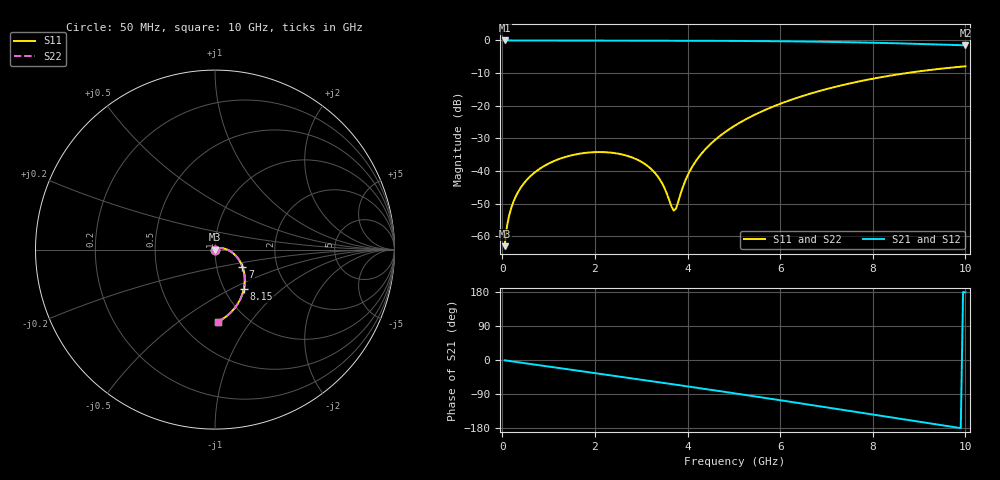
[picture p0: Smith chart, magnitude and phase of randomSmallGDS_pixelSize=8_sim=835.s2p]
! freq	dB(S11)	phase(S11)	dB(S12)	phase(S12)
!  dB(S21)	phase(S21)	dB(S22)	phase(S22)
!S-par simulation data
#  GHz  S  DB  R 50
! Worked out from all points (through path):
!   200 points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, 50 MHz to 10 GHz, reference 50 ohm
!   highest |S21| = 0.00 dB at 50 MHz (marker M1); lowest = -1.5 dB at 10 GHz (marker M2)
!   group delay of S21, straight-line fit = 50.6 ps
!   lowest |S11| = -63.0 dB at 50 MHz (marker M3), VSWR 1.00, Z = 50 - j0.071 ohm
!   |S11| at or under -10 dB: start of sweep to 8.723 GHz
!   |S22| runs from -63.0 to -7.9 dB; largest |S21 - S12| = 0
!   S11 on the Smith chart (normalised r, x): 50 MHz: 1.00, -0.00; 7 GHz: 1.33, -0.26; 8.15 GHz: 1.23, -0.58; 10 GHz: 0.74, -0.71
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0.05  -62.97 -88.7  -0.00 -0.9  -0.00 -0.9  -62.97 -88.7
0.1  -56.96 -90.7  -0.00 -1.7  -0.00 -1.7  -56.96 -90.7
0.2  -50.96 -93.1  -0.00 -3.5  -0.00 -3.5  -50.96 -93.1
0.35  -46.16 -96.2  -0.01 -6.1  -0.01 -6.1  -46.16 -96.2
0.5  -43.15 -99.0  -0.01 -8.7  -0.01 -8.7  -43.15 -99.0
1.05  -37.33 -109.4  -0.02 -18.2  -0.02 -18.2  -37.33 -109.4
1.75  -34.49 -122.6  -0.04 -30.3  -0.04 -30.3  -34.49 -122.6
2.75  -35.55 -143.0  -0.06 -47.6  -0.06 -47.6  -35.54 -143.2
3.15  -38.56 -154.0  -0.06 -54.6  -0.06 -54.6  -38.56 -154.3
3.4  -42.51 -165.7  -0.07 -59.0  -0.07 -59.0  -42.48 -166.4
3.7  -52.08 124.4  -0.08 -64.3  -0.08 -64.3  -51.73 124.1
3.75  -51.49 94.7  -0.08 -65.2  -0.08 -65.2  -51.17 95.4
4  -41.37 39.5  -0.09 -69.6  -0.09 -69.6  -41.33 40.2
4.2  -36.51 28.5  -0.10 -73.2  -0.10 -73.2  -36.49 29.0
4.55  -31.00 17.7  -0.11 -79.5  -0.11 -79.5  -31.00 18.0
5.05  -25.82 6.3  -0.15 -88.6  -0.15 -88.6  -25.82 6.5
5.8  -20.52 -8.8  -0.22 -102.4  -0.22 -102.4  -20.51 -8.7
6.7  -16.07 -26.3  -0.36 -119.3  -0.36 -119.3  -16.07 -26.1
7  -14.89 -32.0  -0.42 -124.9  -0.42 -124.9  -14.89 -31.9
8.15  -11.32 -53.8  -0.74 -146.8  -0.74 -146.8  -11.32 -53.7
8.35  -10.83 -57.6  -0.81 -150.6  -0.81 -150.6  -10.83 -57.5
10  -7.91 -87.8  -1.49 178.4  -1.49 178.4  -7.91 -87.7
